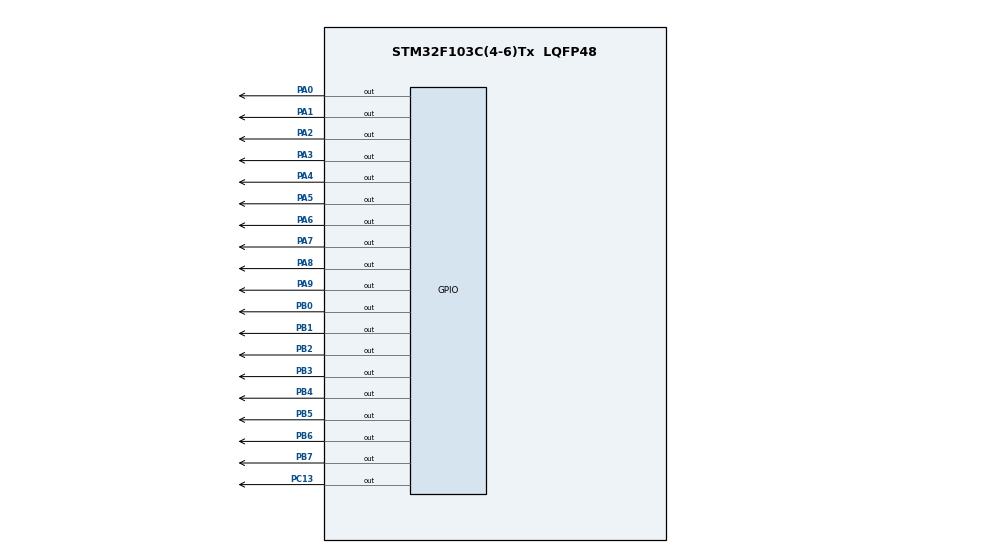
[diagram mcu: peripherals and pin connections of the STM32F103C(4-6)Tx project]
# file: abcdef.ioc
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Mcu.Family=STM32F1
Mcu.Name=STM32F103C(4-6)Tx
Mcu.Package=LQFP48
NVIC.PriorityGroup=NVIC_PRIORITYGROUP_4
PA0-WKUP.Signal=GPIO_Output
PA1.Signal=GPIO_Output
PA2.Signal=GPIO_Output
PA3.Signal=GPIO_Output
PA4.Signal=GPIO_Output
PA5.Signal=GPIO_Output
PA6.Signal=GPIO_Output
PA7.Signal=GPIO_Output
PA8.Signal=GPIO_Output
PA9.Signal=GPIO_Output
PB0.Signal=GPIO_Output
PB1.Signal=GPIO_Output
PB2.Signal=GPIO_Output
PB3.Signal=GPIO_Output
PB4.Signal=GPIO_Output
PB5.Signal=GPIO_Output
PB6.Signal=GPIO_Output
PB7.Signal=GPIO_Output
PC13-TAMPER-RTC.Signal=GPIO_Output
ProjectManager.HeapSize=0x200
ProjectManager.StackSize=0x400
ProjectManager.TargetToolchain=MDK-ARM V5.32
RCC.APB1Freq_Value=8000000
RCC.APB2Freq_Value=8000000
VP_SYS_VS_ND.Mode=No_Debug
board=custom

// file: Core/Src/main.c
/* USER CODE BEGIN Header */
/**
  ******************************************************************************
  * @file           : main.c
  * @brief          : Main program body
  ******************************************************************************
  * @attention
  *
  * <h2><center>&copy; Copyright (c) 2020 STMicroelectronics.
  * All rights reserved.</center></h2>
  *
  * This software component is licensed by ST under BSD 3-Clause license,
  * the "License"; You may not use this file except in compliance with the
  * License. You may obtain a copy of the License at:
  *                        opensource.org/licenses/BSD-3-Clause
  *
  ******************************************************************************
  */
/* USER CODE END Header */
#include "main.h"

void SystemClock_Config(void);
static void MX_GPIO_Init(void);
/* USER CODE BEGIN PFP */
unsigned char key_press(void);
unsigned char check_clm(unsigned char pin_var);
void LCD_init(void);
void LCD(uint8_t val_1, uint8_t cmd);
void LCD_str(unsigned char *str1);
void Disp_pass_key(unsigned char key_var);
/* USER CODE END PFP */

int main(void)
{

  /* MCU Configuration--------------------------------------------------------*/

  /* Reset of all peripherals, Initializes the Flash interface and the Systick. */
  HAL_Init();

  /* Configure the system clock */
  SystemClock_Config();

  /* Initialize all configured peripherals */
  MX_GPIO_Init();

  /* Infinite loop */
  while (1)
  {

  }
}

void SystemClock_Config(void)
{
  RCC_OscInitTypeDef RCC_OscInitStruct = {0};
  RCC_ClkInitTypeDef RCC_ClkInitStruct = {0};

  /** Initializes the RCC Oscillators according to the specified parameters
  * in the RCC_OscInitTypeDef structure.
  */
  RCC_OscInitStruct.OscillatorType = RCC_OSCILLATORTYPE_HSI;
  RCC_OscInitStruct.HSIState = RCC_HSI_ON;
  RCC_OscInitStruct.HSICalibrationValue = RCC_HSICALIBRATION_DEFAULT;
  RCC_OscInitStruct.PLL.PLLState = RCC_PLL_NONE;
  if (HAL_RCC_OscConfig(&RCC_OscInitStruct) != HAL_OK)
  {
    Error_Handler();
  }

  /** Initializes the CPU, AHB and APB buses clocks
  */
  RCC_ClkInitStruct.ClockType = RCC_CLOCKTYPE_HCLK|RCC_CLOCKTYPE_SYSCLK
                              |RCC_CLOCKTYPE_PCLK1|RCC_CLOCKTYPE_PCLK2;
  RCC_ClkInitStruct.SYSCLKSource = RCC_SYSCLKSOURCE_HSI;
  RCC_ClkInitStruct.AHBCLKDivider = RCC_SYSCLK_DIV1;
  RCC_ClkInitStruct.APB1CLKDivider = RCC_HCLK_DIV1;
  RCC_ClkInitStruct.APB2CLKDivider = RCC_HCLK_DIV1;

  if (HAL_RCC_ClockConfig(&RCC_ClkInitStruct, FLASH_LATENCY_0) != HAL_OK)
  {
    Error_Handler();
  }
}

static void MX_GPIO_Init(void)
{
  GPIO_InitTypeDef GPIO_InitStruct = {0};

  /* GPIO Ports Clock Enable */
  __HAL_RCC_GPIOC_CLK_ENABLE();
  __HAL_RCC_GPIOA_CLK_ENABLE();
  __HAL_RCC_GPIOB_CLK_ENABLE();

  /*Configure GPIO pin Output Level */
  HAL_GPIO_WritePin(GPIOC, GPIO_PIN_13, GPIO_PIN_RESET);

  /*Configure GPIO pin Output Level */
  HAL_GPIO_WritePin(GPIOA, GPIO_PIN_0|GPIO_PIN_1|GPIO_PIN_2|GPIO_PIN_3
                          |GPIO_PIN_4|GPIO_PIN_5|GPIO_PIN_6|GPIO_PIN_7
                          |GPIO_PIN_8|GPIO_PIN_9, GPIO_PIN_RESET);

  /*Configure GPIO pin Output Level */
  HAL_GPIO_WritePin(GPIOB, GPIO_PIN_0|GPIO_PIN_1|GPIO_PIN_2|GPIO_PIN_3
                          |GPIO_PIN_4|GPIO_PIN_5|GPIO_PIN_6|GPIO_PIN_7, GPIO_PIN_RESET);

  /*Configure GPIO pin : PC13 */
  GPIO_InitStruct.Pin = GPIO_PIN_13;
  GPIO_InitStruct.Mode = GPIO_MODE_OUTPUT_PP;
  GPIO_InitStruct.Pull = GPIO_NOPULL;
  GPIO_InitStruct.Speed = GPIO_SPEED_FREQ_LOW;
  HAL_GPIO_Init(GPIOC, &GPIO_InitStruct);

  /*Configure GPIO pins : PA0 PA1 PA2 PA3
                           PA4 PA5 PA6 PA7
                           PA8 PA9 */
  GPIO_InitStruct.Pin = GPIO_PIN_0|GPIO_PIN_1|GPIO_PIN_2|GPIO_PIN_3
                          |GPIO_PIN_4|GPIO_PIN_5|GPIO_PIN_6|GPIO_PIN_7
                          |GPIO_PIN_8|GPIO_PIN_9;
  GPIO_InitStruct.Mode = GPIO_MODE_OUTPUT_PP;
  GPIO_InitStruct.Pull = GPIO_NOPULL;
  GPIO_InitStruct.Speed = GPIO_SPEED_FREQ_LOW;
  HAL_GPIO_Init(GPIOA, &GPIO_InitStruct);

  /*Configure GPIO pins : PB0 PB1 PB2 PB3
                           PB4 PB5 PB6 PB7 */
  GPIO_InitStruct.Pin = GPIO_PIN_0|GPIO_PIN_1|GPIO_PIN_2|GPIO_PIN_3
                          |GPIO_PIN_4|GPIO_PIN_5|GPIO_PIN_6|GPIO_PIN_7;
  GPIO_InitStruct.Mode = GPIO_MODE_OUTPUT_PP;
  GPIO_InitStruct.Pull = GPIO_NOPULL;
  GPIO_InitStruct.Speed = GPIO_SPEED_FREQ_LOW;
  HAL_GPIO_Init(GPIOB, &GPIO_InitStruct);

}

/* USER CODE BEGIN 4 */
unsigned char key_press(void)
{
	unsigned char clm_var;
	unsigned char key_arr[] = {7, 8, 9, 15, 4, 5, 6, 14, 1, 2, 3, 13, 10, 0, 11, 12};

	if (HAL_GPIO_ReadPin(GPIOB, GPIO_PIN_0) == 0)
	{
		clm_var = check_clm(GPIO_PIN_0);
		return key_arr[clm_var-1];
	}
	else if (HAL_GPIO_ReadPin(GPIOB, GPIO_PIN_1) == 0)
	{
		clm_var = check_clm(GPIO_PIN_1);
		return key_arr[clm_var+3];
	}
	else if (HAL_GPIO_ReadPin(GPIOB, GPIO_PIN_2) == 0)
	{
		clm_var = check_clm(GPIO_PIN_2);
		return key_arr[clm_var+7];
	}
	else if (HAL_GPIO_ReadPin(GPIOB, GPIO_PIN_3) == 0)
	{
		clm_var = check_clm(GPIO_PIN_3);
		return key_arr[clm_var+11];
	}
	else
		return 16;
}

unsigned char check_clm(unsigned char pin_var)
{
	unsigned char clm;
	HAL_GPIO_WritePin(GPIOB, GPIO_PIN_4|GPIO_PIN_5|GPIO_PIN_6|GPIO_PIN_7, GPIO_PIN_SET);		//Set all columns to logic 1 ie connected to Vcc

	HAL_GPIO_WritePin(GPIOB, GPIO_PIN_4, GPIO_PIN_RESET);						//set first column to Gnd
	if(HAL_GPIO_ReadPin(GPIOB, pin_var) == 0)
		clm = 1;

	HAL_GPIO_WritePin(GPIOB, GPIO_PIN_4, GPIO_PIN_SET);
	HAL_GPIO_WritePin(GPIOB, GPIO_PIN_5, GPIO_PIN_RESET);						//set second column to Gnd
	if(HAL_GPIO_ReadPin(GPIOB, pin_var) == 0)
		clm = 2;

	HAL_GPIO_WritePin(GPIOB, GPIO_PIN_5, GPIO_PIN_SET);
	HAL_GPIO_WritePin(GPIOB, GPIO_PIN_6, GPIO_PIN_RESET);						//set third column to Gnd
	if(HAL_GPIO_ReadPin(GPIOB, pin_var) == 0)
		clm = 3;

	HAL_GPIO_WritePin(GPIOB, GPIO_PIN_6, GPIO_PIN_SET);
	HAL_GPIO_WritePin(GPIOB, GPIO_PIN_7, GPIO_PIN_RESET);						//set fourth column to Gnd
	if(HAL_GPIO_ReadPin(GPIOB, pin_var) == 0)
		clm = 4;

	HAL_GPIO_WritePin(GPIOB, GPIO_PIN_4|GPIO_PIN_5|GPIO_PIN_6|GPIO_PIN_7, GPIO_PIN_RESET);		//Set all columns to logic 0 ie connected to GND
	return clm;
}

void LCD_init(void)
{
	LCD(0x38, 0);			//2 lines, 5*7 matrix
	//LCD(0x0C, 0);			//Display on, cursor off
	LCD(0x0E, 0);			//Display on, cursor blinking
	LCD(0x06, 0);			//Increment cursor (shift cursor to right)
	LCD(0x01, 0);			//Clear display screen
	LCD(0x80, 0);			//Force cursor to beginning ( 1st line)
}

void LCD(uint8_t val_1, uint8_t cmd)
{
	uint8_t data1;

	HAL_GPIO_WritePin(GPIOA, GPIO_PIN_8, cmd);			//set RS = cmd; (cmd=0) => Command; (cmd=1) => Data

	data1 = val_1 & 0x01;														//mask bit and assign it to GPIO 0
	HAL_GPIO_WritePin(GPIOA, GPIO_PIN_0, data1);

	data1 = (val_1>>1) & 0x01;											//mask bit and assign it to GPIO 1
	HAL_GPIO_WritePin(GPIOA, GPIO_PIN_1, data1);

	data1 = (val_1>>2) & 0x01;											//mask bit and assign it to GPIO 2
	HAL_GPIO_WritePin(GPIOA, GPIO_PIN_2, data1);

	data1 = (val_1>>3) & 0x01;											//mask bit and assign it to GPIO 3
	HAL_GPIO_WritePin(GPIOA, GPIO_PIN_3, data1);

	data1 = (val_1>>4) & 0x01;											//mask bit and assign it to GPIO 4
	HAL_GPIO_WritePin(GPIOA, GPIO_PIN_4, data1);

	data1 = (val_1>>5) & 0x01;											//mask bit and assign it to GPIO 5
	HAL_GPIO_WritePin(GPIOA, GPIO_PIN_5, data1);

	data1 = (val_1>>6) & 0x01;											//mask bit and assign it to GPIO 6
	HAL_GPIO_WritePin(GPIOA, GPIO_PIN_6, data1);

	data1 = (val_1>>7) & 0x01;											//mask bit and assign it to GPIO 7
	HAL_GPIO_WritePin(GPIOA, GPIO_PIN_7, data1);

	//---------------------------------------------//
	//		Enable Pulse		//
	HAL_GPIO_WritePin(GPIOA, GPIO_PIN_9, GPIO_PIN_SET);
	HAL_Delay(5);
	HAL_GPIO_WritePin(GPIOA, GPIO_PIN_9, GPIO_PIN_RESET);
}

void LCD_str(unsigned char *str1)
{
	while(*str1 != 0)
	{
		LCD(*str1, 1);
		str1++;
	}
}

void Disp_pass_key(unsigned char key_var)
{
	static unsigned char pass_var1 = 0;
	static unsigned char key_arr[5];
	unsigned char enter_key[5] = {"12345"};
	unsigned char i;

	if(key_var != 16)
	{
		key_arr[pass_var1] = key_var + 48;
		LCD(key_var + 48, 1);
		pass_var1++;
		if(pass_var1 == 5)
		{
			LCD(0xC0, 0);
			for(i=0;i<5;i++)
			{
				if(key_arr[i] != enter_key[i])
				{
					LCD_str("Re-enter pw");
					pass_var1 = 0;
					break;
				}
			}
			if(i == 5)
			{
				LCD_str("Welcome!!!!");
			}
			HAL_Delay(3000);
			pass_var1 = 0;
			LCD(0x01, 0);
			LCD(0x80, 0);
			LCD_str("Enter password:");
			LCD(0xC0, 0);
		}

	}
}
/* USER CODE END 4 */

void Error_Handler(void)
{
}
